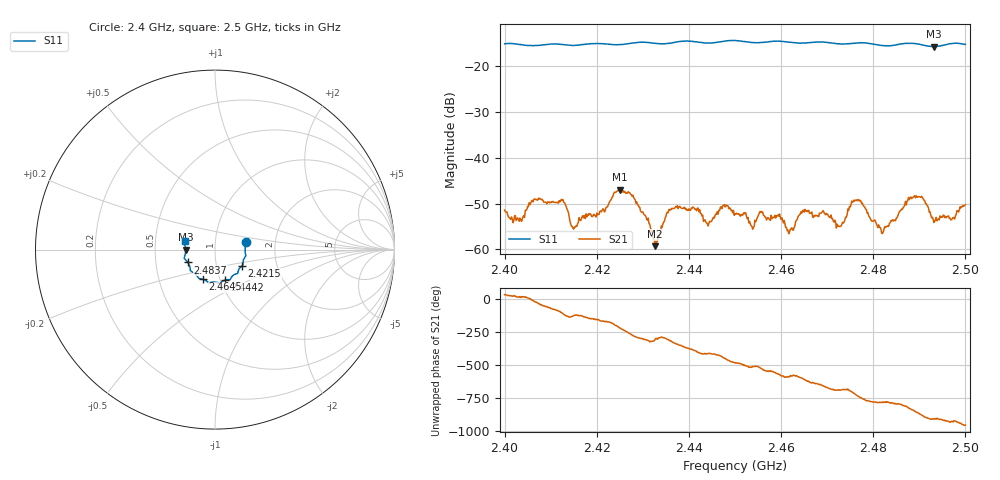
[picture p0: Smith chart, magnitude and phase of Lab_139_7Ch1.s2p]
# Hz S RI R 50
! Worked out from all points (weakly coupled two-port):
!   601 points, 2.4 GHz to 2.5 GHz, reference 50 ohm
!   highest |S21| = -46.94 dB at 2.425 GHz (marker M1); lowest = -59.3 dB at 2.4327 GHz (marker M2)
!   lowest |S11| = -15.7 dB at 2.4932 GHz (marker M3), VSWR 1.39, Z = 35.9 - j0.0521 ohm
!   |S11| at or under -10 dB: start of sweep to end of sweep
!   S12 and S22 are empty: the file has one direction only
!   S11 on the Smith chart (normalised r, x): 2.4 GHz: 1.41, +0.12; 2.4215 GHz: 1.33, -0.25; 2.4442 GHz: 1.05, -0.37; 2.4645 GHz: 0.83, -0.29; 2.4837 GHz: 0.73, -0.11; 2.5 GHz: 0.71, +0.07
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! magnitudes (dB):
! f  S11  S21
! 2.4 GHz  -15.1  -51.4
! 2.4123 GHz  -15.2  -49.1
! 2.4148 GHz  -15.5  -55.4
! 2.4167 GHz  -15.3  -53.4
! 2.4215 GHz  -15.1  -51.3
! 2.425 GHz  -15.3  -46.9
! 2.4278 GHz  -14.9  -48.2
! 2.4327 GHz  -15.0  -59.3
! 2.4333 GHz  -15.1  -56.9
! 2.437 GHz  -14.8  -51.0
! 2.4442 GHz  -15.0  -54.9
! 2.45 GHz  -14.4  -52.2
! 2.4618 GHz  -14.8  -56.2
! 2.4645 GHz  -15.0  -52.1
! 2.4667 GHz  -14.8  -51.9
! 2.4725 GHz  -15.1  -54.9
! 2.4767 GHz  -14.9  -49.2
! 2.4833 GHz  -15.6  -55.0
! 2.4837 GHz  -15.5  -54.2
! 2.4893 GHz  -15.1  -48.3
! 2.4932 GHz  -15.7  -54.1
! 2.5 GHz  -15.3  -50.3
